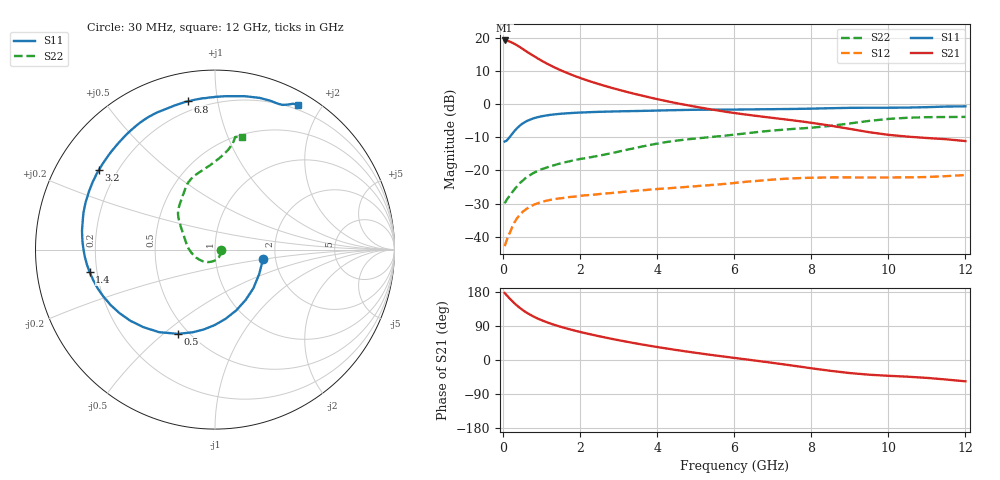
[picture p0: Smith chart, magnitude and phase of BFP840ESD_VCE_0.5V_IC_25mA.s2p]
! Infineon Technologies  Discrete & RF Semiconductors
! BFP840ESD
! VCE =  0.5 V,  IC =  25 mA
! Common Emitter S-Parameters:  May 2012
# GHz  S  MA  R  50
!  f  S11  S21  S12  S22
! GHz  MAG  ANG  MAG  ANG  MAG  ANG  MAG  ANG
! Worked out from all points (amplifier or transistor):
!   93 points, 30 MHz to 12 GHz, reference 50 ohm
!   highest |S21| = 19.2 dB at 30 MHz (marker M1)
!   |S21| within 3 dB of that: start of sweep to 556.6 MHz
!   unconditionally stable (mu >= 1): start of sweep to end of sweep
!   at 1.1 GHz: K = 1.91, MAG = 15.3 dB, |S12| = -29.2 dB
!   at 4.2 GHz: K = 2.88, MAG = 5.8 dB, |S12| = -25.4 dB
!   at 12 GHz: K = 2.18, MAG = -1.0 dB, |S12| = -21.4 dB
!   S11 on the Smith chart (normalised r, x): 30 MHz: 1.72, -0.20; 500 MHz: 0.44, -0.56; 1.4 GHz: 0.17, -0.09; 3.2 GHz: 0.13, +0.31; 6.8 GHz: 0.15, +0.82; 12 GHz: 0.15, +1.72
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0.03  0.2729 -11.4  9.166 176.9  0.0072 8.9  0.0319 0.5
0.13  0.3033 -45.0  8.953 165.7  0.0105 35.7  0.0394 -35.3
0.18  0.329 -58.9  8.721 160.3  0.0119 40.9  0.0426 -50.5
0.28  0.3901 -81.3  8.182 150.2  0.0162 44.6  0.0512 -72.0
0.38  0.4498 -98.1  7.568 141.3  0.0199 45.1  0.0602 -90.2
0.5  0.5127 -113.7  6.828 131.8  0.0238 42.1  0.0703 -106.6
0.6  0.5551 -124.0  6.241 125.0  0.0263 40.4  0.0788 -117.9
0.7  0.5878 -132.6  5.737 119.1  0.0287 38.5  0.0857 -127.4
0.9  0.6392 -146.4  4.868 108.9  0.0321 34.3  0.0983 -142.3
1.1  0.6745 -157.2  4.19 100.6  0.0348 31.4  0.1096 -153.5
1.4  0.7095 -169.7  3.431 90.3  0.0375 28.1  0.1242 -166.1
1.7  0.7322 -179.8  2.887 81.6  0.0396 25.7  0.1368 -175.7
2.1  0.7518 169.1  2.366 71.4  0.0421 23.8  0.1522 174.3
2.6  0.7697 157.5  1.916 60.3  0.0448 21.9  0.1725 163.0
3.2  0.7845 145.5  1.536 48.3  0.0479 19.9  0.2046 151.7
4.1  0.8044 130.0  1.157 32.5  0.053 16.8  0.2607 140.5
5  0.824 118.6  0.914 18.9  0.0578 14.0  0.3039 132.1
6.1  0.8311 107.6  0.723 4.2  0.0657 10.0  0.3526 120.5
6.8  0.8392 100.5  0.641 -5.0  0.0712 5.3  0.3905 113.9
8.5  0.8705 79.1  0.474 -28.6  0.0785 -8.9  0.4708 93.3
10.5  0.8896 65.0  0.324 -44.1  0.0787 -19.8  0.6244 80.0
12  0.9286 60.1  0.278 -56.3  0.0852 -25.4  0.6434 76.4
